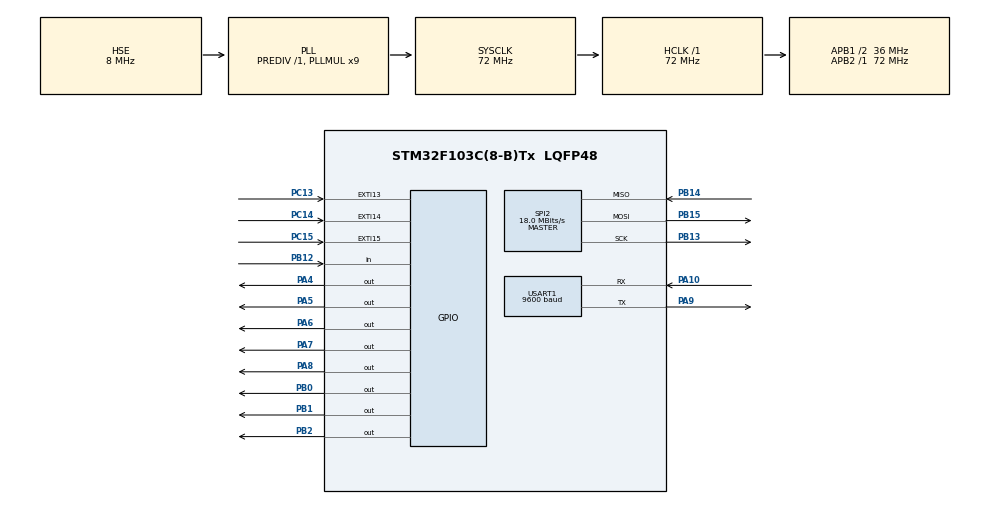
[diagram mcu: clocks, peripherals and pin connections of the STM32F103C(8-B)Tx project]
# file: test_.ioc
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Mcu.Family=STM32F1
Mcu.Name=STM32F103C(8-B)Tx
Mcu.Package=LQFP48
NVIC.EXTI15_10_IRQn=true\:0\:0\:false\:false\:true\:true\:true
NVIC.PriorityGroup=NVIC_PRIORITYGROUP_4
NVIC.USART1_IRQn=true\:0\:0\:false\:false\:true\:true\:true
PA10.Mode=Asynchronous
PA10.Signal=USART1_RX
PA13.Mode=Serial_Wire
PA13.Signal=SYS_JTMS-SWDIO
PA14.Mode=Serial_Wire
PA14.Signal=SYS_JTCK-SWCLK
PA3.Signal=ADCx_IN3
PA4.Signal=GPIO_Output
PA5.Signal=GPIO_Output
PA6.Signal=GPIO_Output
PA7.Signal=GPIO_Output
PA8.GPIO_PuPd=GPIO_PULLUP
PA8.GPIO_Speed=GPIO_SPEED_FREQ_LOW
PA8.Signal=GPIO_Output
PA9.Mode=Asynchronous
PA9.Signal=USART1_TX
PB0.Signal=GPIO_Output
PB1.Signal=GPIO_Output
PB12.Signal=GPIO_Input
PB13.Mode=Full_Duplex_Master
PB13.Signal=SPI2_SCK
PB14.Mode=Full_Duplex_Master
PB14.Signal=SPI2_MISO
PB15.Mode=Full_Duplex_Master
PB15.Signal=SPI2_MOSI
PB2.Signal=GPIO_Output
PC13-TAMPER-RTC.GPIO_ModeDefaultEXTI=GPIO_MODE_IT_FALLING
PC13-TAMPER-RTC.GPIO_PuPd=GPIO_PULLUP
PC13-TAMPER-RTC.Signal=GPXTI13
PC14-OSC32_IN.GPIO_ModeDefaultEXTI=GPIO_MODE_IT_FALLING
PC14-OSC32_IN.GPIO_PuPd=GPIO_PULLUP
PC14-OSC32_IN.Signal=GPXTI14
PC15-OSC32_OUT.GPIO_ModeDefaultEXTI=GPIO_MODE_IT_FALLING
PC15-OSC32_OUT.GPIO_PuPd=GPIO_PULLUP
PC15-OSC32_OUT.Signal=GPXTI15
PD0-OSC_IN.Mode=HSE-External-Oscillator
PD0-OSC_IN.Signal=RCC_OSC_IN
PD1-OSC_OUT.Mode=HSE-External-Oscillator
PD1-OSC_OUT.Signal=RCC_OSC_OUT
ProjectManager.HeapSize=0x200
ProjectManager.StackSize=0x400
ProjectManager.TargetToolchain=STM32CubeIDE
RCC.ADCPresc=RCC_ADCPCLK2_DIV6
RCC.AHBFreq_Value=72000000
RCC.APB1CLKDivider=RCC_HCLK_DIV2
RCC.APB1Freq_Value=36000000
RCC.APB1TimFreq_Value=72000000
RCC.APB2Freq_Value=72000000
RCC.APB2TimFreq_Value=72000000
RCC.HCLKFreq_Value=72000000
RCC.PLLMUL=RCC_PLL_MUL9
RCC.PLLSourceVirtual=RCC_PLLSOURCE_HSE
RCC.RTCClockSelection=RCC_RTCCLKSOURCE_HSE_DIV128
RCC.SYSCLKFreq_VALUE=72000000
RCC.SYSCLKSource=RCC_SYSCLKSOURCE_PLLCLK
RCC.USBFreq_Value=48000000
RCC.USBPrescaler=RCC_USBCLKSOURCE_PLL_DIV1_5
RTC.Format=RTC_FORMAT_BCD
RTC.Hours=12
RTC.Minutes=39
RTC.Seconds=50
SH.ADCx_IN3.0=ADC1_IN3
SPI2.CalculateBaudRate=18.0 MBits/s
SPI2.Direction=SPI_DIRECTION_2LINES
SPI2.Mode=SPI_MODE_MASTER
SPI2.VirtualType=VM_MASTER
USART1.BaudRate=9600
USART1.VirtualMode=VM_ASYNC
VP_RTC_No_RTC_Output.Mode=RTC_OUT_NO
VP_RTC_VS_RTC_Activate.Mode=RTC_Enabled
VP_RTC_VS_RTC_Calendar.Mode=RTC_Calendar
board=custom

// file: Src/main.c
/* USER CODE BEGIN Header */
/**
  ******************************************************************************
  * @file           : main.c
  * @brief          : Main program body
  ******************************************************************************
  * @attention
  *
  * <h2><center>&copy; Copyright (c) 2019 STMicroelectronics.
  * All rights reserved.</center></h2>
  *
  * This software component is licensed by ST under BSD 3-Clause license,
  * the "License"; You may not use this file except in compliance with the
  * License. You may obtain a copy of the License at:
  *                        opensource.org/licenses/BSD-3-Clause
  *
  ******************************************************************************
  */
/* USER CODE END Header */

#include "main.h"

/* USER CODE BEGIN Includes */
#include "graphic.h"
#include <stdlib.h>
#include "nokia5110.h"
/* USER CODE END Includes */

/* USER CODE BEGIN PD */
uint8_t bird_pos;
uint8_t bar_pos;
uint8_t colision;
uint8_t dead;
uint8_t game;
int score;
volatile uint8_t debouncing;
/* USER CODE END PD */

RTC_HandleTypeDef hrtc;

SPI_HandleTypeDef hspi2;

UART_HandleTypeDef huart1;

void SystemClock_Config(void);
static void MX_GPIO_Init(void);
static void MX_USART1_UART_Init(void);
static void MX_SPI2_Init(void);
static void MX_RTC_Init(void);

/* USER CODE BEGIN 0 */
int lower = 5, upper = 7, count = 1;
void print_number(uint8_t x, uint8_t number){
	 LCD_goXY(x, 1);
	 for(int i = 0; i<5;i++){
		 LCD_goXY(x, i + 1);
	 for(int j = 0; j<25;j++){
		  		  LCD_write(myBitmap[number][j + 25*i],  LCD_DATA);
		}
	 }
}
char buffer [504];
void shift_img(){

	for(int i = 0; i<504; i++)
		buffer[i] = 0x00;
	for(int i = 0 ; i<3;i++ ){
		for(int j = 0; j<20; j++)
		buffer[i*84 +j] = bird[20*i + j  ];
	}
}
void LCD_set_pixel(uint8_t x, uint8_t y, uint8_t pixel){
  if(x >= LCD_WIDTH)
    x = LCD_WIDTH - 1;
  if(y >= LCD_HEIGHT)
    y = LCD_HEIGHT - 1;

  if(pixel != 0){
    buffer[x + (y / 8) * LCD_WIDTH] |= 1 << (y % 8);
  }
  else{
    buffer[x + (y / 8) * LCD_WIDTH] &= ~(1 << (y % 8));
  }
}

void LCD_set_pixel_im(uint8_t x, uint8_t y, uint8_t pixel){
  if(x >= LCD_WIDTH)
    x = LCD_WIDTH - 1;
  if(y >= LCD_HEIGHT)
    y = LCD_HEIGHT - 1;

  if(pixel != 0){
	  buffer[x + (y / 8) * LCD_WIDTH] |= 1 << (y % 8);
	  if(buffer[x + (y / 8) * LCD_WIDTH] == 0){
}
  }
else{

}
}

void delete_bar(uint8_t x, uint8_t y, uint8_t height, uint8_t width,uint8_t gap){

	for(int i = x; i<x+width; i++){
		for(int j = y;j<y+height-6;j++){
			LCD_set_pixel(i,j, 0);
		}
	}
	for(int i = x; i<x+width; i++){
		for(int j = 48;j>  (y+height)+ gap + 6;j--){
				LCD_set_pixel(i,j, 0);
			}
		}
	if(x<82 && x>2){
	for(int i = x-2; i<x+width +2 ; i++){
			for(int j = y+height-5;j<y+height;j++){
				LCD_set_pixel(i,j, 0);
			}
		}
	for(int i = x-2; i<x+width +2 ; i++){
				for(int j = (y+height)+ gap + 5;j>  (y+height)+ gap;j--){
					LCD_set_pixel(i,j,0);
				}
			}
	}
}
void draw_bar(uint8_t x, uint8_t y, uint8_t height, uint8_t width, uint8_t gap){

	for(int i = x; i<x+width; i++){
		for(int j = y;j<y+height-6;j++){
			LCD_set_pixel(i,j, 1);
		}
	}
	for(int i = x; i<x+width; i++){
		for(int j = 48;j>  (y+height)+ gap + 6;j--){
			LCD_set_pixel(i,j, 1);
		}
	}

	if(x<82 && x>2){
	for(int i = x-2; i<x+width +2 ; i++){
			for(int j = y+height-5;j<y+height;j++){
				LCD_set_pixel(i,j, 1);
			}
		}
	for(int i = x-2; i<x+width +2 ; i++){
				for(int j = (y+height)+ gap + 5;j>  (y+height)+ gap;j--){
					LCD_set_pixel(i,j, 1);
				}
			}

//	for(int i = x-2; i<x+width +2 ; i++){
//				for(int j = 48;j>(y+height)- gap ;j++){
//					LCD_set_pixel(i,j, 1);
//				}
//			}
	}
//	LCD_printBuffer(buffer);
}
void shift_im(){
	uint16_t temp[60];
	uint8_t im[80];
	for(int i = 0 ; i<3;i++ ){
			for(int j = 0; j<20; j++)
				temp[20*i + j] = bird[20*i + j  ];
		}
	for(int i = 0; i<60; i++){
		temp[i] <<5;
	}
////	for(int i = 0; i<20; i++){
////		im[i] =(uint8_t) temp[i] ;
////	}
//	for(int i = 20; i<40; i++){
//			im[i] = (uint8_t)temp[i - 20] & 0x00FF;
//		}
//	for(int i = 20; i<40; i++){
//				im[i] = (uint8_t)im[i] | ((uint8_t)temp[i] && 0xFF00);
//			}
//   for(int i = 40; i<60; i++){
//	   im[i] =(uint8_t) temp[i-20] & 0x00FF;
//   }
//   for(int i = 60; i<80; i++){
//  	   im[i] = (uint8_t)temp[i] & 0xFF00;
//     }
   for(int i = 0; i<504; i++)
   		buffer[i] = 0x00;
   	for(int i = 0 ; i<4;i++ ){
   		for(int j = 0; j<20; j++)
   		buffer[i*84 +j] = im[20*i + j  ];
   	}
}
void deleteBuffer(){
	 for(int i = 0; i<504; i++)
	   		buffer[i] = 0x00;
}
void printImage(uint8_t x, uint8_t y, char data [], uint8_t sx,uint8_t sy){
//	 for(int i = 0; i<504; i++)
//	   		buffer[i] = 0x00;
		  for(int i = 0 ; i<sx;i++ ){
		     		for(int j = 0; j<sy; j++){
		     			for(int k = 0; k<8;k++){
			             LCD_set_pixel_im(j+x , y + k + 8*(sx -1 - i) , data[i*sy+j] & (1 << (7 - k)));
		     			}
		     		}
		 	  }
}
void printImageReverse(uint8_t x, uint8_t y, char data [], uint8_t sx,uint8_t sy){
//	 for(int i = 0; i<504; i++)
//	   		buffer[i] = 0x00;
		  for(int i = 0; i<sx;i++ ){
		     		for(int j = 0; j<sy; j++){
		     			for(int k = 7; k>0;k--){
			             LCD_set_pixel_im((j +x) ,  y + k + 8*i ,data[i*sy+(sy-j)] & (1<< (7-k)));
		     			}
		     		}
		 	  }
}
void deleteImageReverse(uint8_t x, uint8_t y, uint8_t sx,uint8_t sy){
//	 for(int i = 0; i<504; i++)
//	   		buffer[i] = 0x00;
		  for(int i = 0; i<sx;i++ ){
		     		for(int j = 0; j<sy; j++){
		     			for(int k = 7; k>0;k--){
			             LCD_set_pixel_im((j +x) ,  y + k + 8*i ,0);
		     			}
		     		}
		 	  }
}
void deleteImage(uint8_t x, uint8_t y, uint8_t sx,uint8_t sy){
//	 for(int i = 0; i<504; i++)
//	   		buffer[i] = 0x00;
		  for(int i = 0 ; i<sx;i++ ){
		     		for(int j = 0; j<sy; j++){
		     			for(int k = 0; k<8;k++){

			             LCD_set_pixel(j+x , y + k + 8*(sx -1 - i) , 0);
		     			}
		     		}
		 	  }

}
void printChar(uint8_t x, uint8_t y, char c){

	printImageReverse(x,y, ASCII[c - 0x20], 1,6);

}
void delChar(uint8_t x, uint8_t y){

	deleteImage(x,y, 1,6);
}
void printStr(char *str, uint8_t x, uint8_t y){

  uint8_t i = x;
  uint8_t str_len = strlen(str);
  for(int j = str_len-1; j >= 0;j--){
	  printChar(i,y,str[j]);
	  i+=6;
  }
}
void deleteStr(char *str, uint8_t x, uint8_t y){

  uint8_t i = x;
  uint8_t str_len = strlen(str);
  for(int j = str_len-1; j >= 0;j--){
	  delChar(i,y);
	  i+=6;
  }
}
int  printRandoms(int lower, int upper)
{
        int num;
        num = (rand() % (upper - lower + 1)) + lower;
        return num;
}
void lcd_init(){
	  LCD_setRST(GPIOB, GPIO_PIN_2);
	  LCD_setCE(GPIOB, GPIO_PIN_1);
	  LCD_setDC(GPIOB, GPIO_PIN_0);
	  LCD_setDIN(GPIOA, GPIO_PIN_7);
	  LCD_setCLK(GPIOA, GPIO_PIN_5);
	  LCD_init();
	  LCD_invert(0);
	  LCD_printBuffer(mari);
	  HAL_Delay(1000);
	  LCD_clrScr();
}
void RTC_show(){
	   RTC_TimeTypeDef timeStruct;
	   int hour, min, sec;
	  HAL_RTC_GetTime(&hrtc,&timeStruct,RTC_FORMAT_BIN);
	  hour = timeStruct.Hours;
	  min = timeStruct.Minutes;
	  sec = timeStruct.Seconds;

	  int hour_10 = hour % 10;
		  int hour_d  = hour/10;

		  int min_10 = min % 10;
		  int min_d  = min/10;

	 	  print_number(0,hour_d);
		  print_number(20, hour_10 );
		  print_number(40,min_d );
		  print_number(60,min_10);
		  HAL_Delay(500);

		  for(int i =0; i<84;i+=2){
			  if(i<40){

		  LCD_print("SD_not_found", 0, 0);

    }
  }
}
void Flappy_Bird(uint8_t game){
	  dead = 0;
	  int bar_height = 20;
	  bird_pos = 20;
	  if(game == 0)
	  {

	    /* USER CODE END WHILE */

	    /* USER CODE BEGIN 3 */

		  LCD_goXY(0, 0);
	      draw_bar(bar_pos, 0,bar_height,8, 15);

	      printImage(15, bird_pos,  bird, 2,16);
	      char c;
	      colision = 0;
	      if(bar_pos>15 && bar_pos<23){

	         if(bird_pos > bar_height -3 && bird_pos < bar_height + 3  ){
	        	 colision = 0;
	        	 printChar(0, 0, '0');
	             c = '0';
	         }
	         else{
	        	 colision = 1;
	        	 printChar(0, 0, '1');
	        	 c = '1';
	        	 dead = 1;
	        	 while(1){
	        		 LCD_printBuffer(over);
	        		 HAL_Delay(100);
	        	 }
	         }
	      }
	      if(bar_pos == 23 && dead ==0){
	    	  score++;
	      }
	      char  score_buffer [10];
	      itoa(score,score_buffer,10);
	      printStr("Score", 48,  40);
	      printStr(score_buffer, 30,  40);
	      LCD_printBuffer(buffer);

	      HAL_Delay(100);
	      delChar(0, 0);
	      delChar(30,  40);
		  deleteImage(15, bird_pos, 2,16);
		  delete_bar(bar_pos, 0,bar_height,8, 15);

		  if(bird_pos>0)
		  bird_pos--;
		  if(bar_pos>0){
		  bar_pos--;

		  }
		  else{
		  bar_pos = 84;
		  bar_height = printRandoms(5, 43);
		  }
	  }
}
/* USER CODE END 0 */

int main(void)
{

  /* MCU Configuration--------------------------------------------------------*/

  /* Reset of all peripherals, Initializes the Flash interface and the Systick. */
  HAL_Init();

  /* Configure the system clock */
  SystemClock_Config();

  /* Initialize all configured peripherals */
  MX_GPIO_Init();
  MX_USART1_UART_Init();
  MX_SPI2_Init();
  MX_RTC_Init();
  /* USER CODE BEGIN 2 */
  lcd_init();

  HAL_Delay(1000);

   //LCD_putChar('a');   LCD_clrScr();
while(1){
	  if(debouncing>=2){
			  bird_pos+=2;
			  debouncing =0;

		  }
   if(game == 0){
       Flappy_Bird(game);
   }
   else{
	   LCD_printBuffer(mari);
   }
}
  /* USER CODE END 2 */

  /* Infinite loop */
  /* USER CODE BEGIN WHILE */

  /* USER CODE END 3 */
}

void SystemClock_Config(void)
{
  RCC_OscInitTypeDef RCC_OscInitStruct = {0};
  RCC_ClkInitTypeDef RCC_ClkInitStruct = {0};
  RCC_PeriphCLKInitTypeDef PeriphClkInit = {0};

  /** Initializes the CPU, AHB and APB busses clocks
  */
  RCC_OscInitStruct.OscillatorType = RCC_OSCILLATORTYPE_HSE;
  RCC_OscInitStruct.HSEState = RCC_HSE_ON;
  RCC_OscInitStruct.HSEPredivValue = RCC_HSE_PREDIV_DIV1;
  RCC_OscInitStruct.HSIState = RCC_HSI_ON;
  RCC_OscInitStruct.PLL.PLLState = RCC_PLL_ON;
  RCC_OscInitStruct.PLL.PLLSource = RCC_PLLSOURCE_HSE;
  RCC_OscInitStruct.PLL.PLLMUL = RCC_PLL_MUL9;
  if (HAL_RCC_OscConfig(&RCC_OscInitStruct) != HAL_OK)
  {
    Error_Handler();
  }
  /** Initializes the CPU, AHB and APB busses clocks
  */
  RCC_ClkInitStruct.ClockType = RCC_CLOCKTYPE_HCLK|RCC_CLOCKTYPE_SYSCLK
                              |RCC_CLOCKTYPE_PCLK1|RCC_CLOCKTYPE_PCLK2;
  RCC_ClkInitStruct.SYSCLKSource = RCC_SYSCLKSOURCE_PLLCLK;
  RCC_ClkInitStruct.AHBCLKDivider = RCC_SYSCLK_DIV1;
  RCC_ClkInitStruct.APB1CLKDivider = RCC_HCLK_DIV2;
  RCC_ClkInitStruct.APB2CLKDivider = RCC_HCLK_DIV1;

  if (HAL_RCC_ClockConfig(&RCC_ClkInitStruct, FLASH_LATENCY_2) != HAL_OK)
  {
    Error_Handler();
  }
  PeriphClkInit.PeriphClockSelection = RCC_PERIPHCLK_RTC;
  PeriphClkInit.RTCClockSelection = RCC_RTCCLKSOURCE_HSE_DIV128;
  if (HAL_RCCEx_PeriphCLKConfig(&PeriphClkInit) != HAL_OK)
  {
    Error_Handler();
  }
}

static void MX_RTC_Init(void)
{

  RTC_TimeTypeDef sTime = {0};
  RTC_DateTypeDef DateToUpdate = {0};

  /** Initialize RTC Only
  */
  hrtc.Instance = RTC;
  hrtc.Init.AsynchPrediv = RTC_AUTO_1_SECOND;
  hrtc.Init.OutPut = RTC_OUTPUTSOURCE_NONE;
  if (HAL_RTC_Init(&hrtc) != HAL_OK)
  {
    Error_Handler();
  }

  /** Initialize RTC and set the Time and Date
  */
  sTime.Hours = 0x12;
  sTime.Minutes = 0x39;
  sTime.Seconds = 0x50;

  if (HAL_RTC_SetTime(&hrtc, &sTime, RTC_FORMAT_BCD) != HAL_OK)
  {
    Error_Handler();
  }
  DateToUpdate.WeekDay = RTC_WEEKDAY_MONDAY;
  DateToUpdate.Month = RTC_MONTH_JANUARY;
  DateToUpdate.Date = 0x1;
  DateToUpdate.Year = 0x0;

  if (HAL_RTC_SetDate(&hrtc, &DateToUpdate, RTC_FORMAT_BCD) != HAL_OK)
  {
    Error_Handler();
  }

}

static void MX_SPI2_Init(void)
{

  /* SPI2 parameter configuration*/
  hspi2.Instance = SPI2;
  hspi2.Init.Mode = SPI_MODE_MASTER;
  hspi2.Init.Direction = SPI_DIRECTION_2LINES;
  hspi2.Init.DataSize = SPI_DATASIZE_8BIT;
  hspi2.Init.CLKPolarity = SPI_POLARITY_LOW;
  hspi2.Init.CLKPhase = SPI_PHASE_1EDGE;
  hspi2.Init.NSS = SPI_NSS_SOFT;
  hspi2.Init.BaudRatePrescaler = SPI_BAUDRATEPRESCALER_2;
  hspi2.Init.FirstBit = SPI_FIRSTBIT_MSB;
  hspi2.Init.TIMode = SPI_TIMODE_DISABLE;
  hspi2.Init.CRCCalculation = SPI_CRCCALCULATION_DISABLE;
  hspi2.Init.CRCPolynomial = 10;
  if (HAL_SPI_Init(&hspi2) != HAL_OK)
  {
    Error_Handler();
  }

}

static void MX_USART1_UART_Init(void)
{

  huart1.Instance = USART1;
  huart1.Init.BaudRate = 9600;
  huart1.Init.WordLength = UART_WORDLENGTH_8B;
  huart1.Init.StopBits = UART_STOPBITS_1;
  huart1.Init.Parity = UART_PARITY_NONE;
  huart1.Init.Mode = UART_MODE_TX_RX;
  huart1.Init.HwFlowCtl = UART_HWCONTROL_NONE;
  huart1.Init.OverSampling = UART_OVERSAMPLING_16;
  if (HAL_UART_Init(&huart1) != HAL_OK)
  {
    Error_Handler();
  }

}

static void MX_GPIO_Init(void)
{
  GPIO_InitTypeDef GPIO_InitStruct = {0};

  /* GPIO Ports Clock Enable */
  __HAL_RCC_GPIOC_CLK_ENABLE();
  __HAL_RCC_GPIOD_CLK_ENABLE();
  __HAL_RCC_GPIOA_CLK_ENABLE();
  __HAL_RCC_GPIOB_CLK_ENABLE();

  /*Configure GPIO pin Output Level */
  HAL_GPIO_WritePin(GPIOA, GPIO_PIN_4|GPIO_PIN_5|GPIO_PIN_6|GPIO_PIN_7
                          |GPIO_PIN_8, GPIO_PIN_RESET);

  /*Configure GPIO pin Output Level */
  HAL_GPIO_WritePin(GPIOB, GPIO_PIN_0|GPIO_PIN_1|GPIO_PIN_2, GPIO_PIN_RESET);

  /*Configure GPIO pins : PC13 PC14 PC15 */
  GPIO_InitStruct.Pin = GPIO_PIN_13|GPIO_PIN_14|GPIO_PIN_15;
  GPIO_InitStruct.Mode = GPIO_MODE_IT_FALLING;
  GPIO_InitStruct.Pull = GPIO_PULLUP;
  HAL_GPIO_Init(GPIOC, &GPIO_InitStruct);

  /*Configure GPIO pin : PA3 */
  GPIO_InitStruct.Pin = GPIO_PIN_3;
  GPIO_InitStruct.Mode = GPIO_MODE_ANALOG;
  HAL_GPIO_Init(GPIOA, &GPIO_InitStruct);

  /*Configure GPIO pins : PA4 PA5 PA6 PA7 */
  GPIO_InitStruct.Pin = GPIO_PIN_4|GPIO_PIN_5|GPIO_PIN_6|GPIO_PIN_7;
  GPIO_InitStruct.Mode = GPIO_MODE_OUTPUT_PP;
  GPIO_InitStruct.Pull = GPIO_NOPULL;
  GPIO_InitStruct.Speed = GPIO_SPEED_FREQ_LOW;
  HAL_GPIO_Init(GPIOA, &GPIO_InitStruct);

  /*Configure GPIO pins : PB0 PB1 PB2 */
  GPIO_InitStruct.Pin = GPIO_PIN_0|GPIO_PIN_1|GPIO_PIN_2;
  GPIO_InitStruct.Mode = GPIO_MODE_OUTPUT_PP;
  GPIO_InitStruct.Pull = GPIO_NOPULL;
  GPIO_InitStruct.Speed = GPIO_SPEED_FREQ_LOW;
  HAL_GPIO_Init(GPIOB, &GPIO_InitStruct);

  /*Configure GPIO pin : PB12 */
  GPIO_InitStruct.Pin = GPIO_PIN_12;
  GPIO_InitStruct.Mode = GPIO_MODE_INPUT;
  GPIO_InitStruct.Pull = GPIO_NOPULL;
  HAL_GPIO_Init(GPIOB, &GPIO_InitStruct);

  /*Configure GPIO pin : PA8 */
  GPIO_InitStruct.Pin = GPIO_PIN_8;
  GPIO_InitStruct.Mode = GPIO_MODE_OUTPUT_PP;
  GPIO_InitStruct.Pull = GPIO_PULLUP;
  GPIO_InitStruct.Speed = GPIO_SPEED_FREQ_LOW;
  HAL_GPIO_Init(GPIOA, &GPIO_InitStruct);

  /* EXTI interrupt init*/
  HAL_NVIC_SetPriority(EXTI15_10_IRQn, 0, 0);
  HAL_NVIC_EnableIRQ(EXTI15_10_IRQn);

}

void Error_Handler(void)
{
  while(1)
  {
  }
}

/************************ (C) COPYRIGHT STMicroelectronics *****END OF FILE****/
